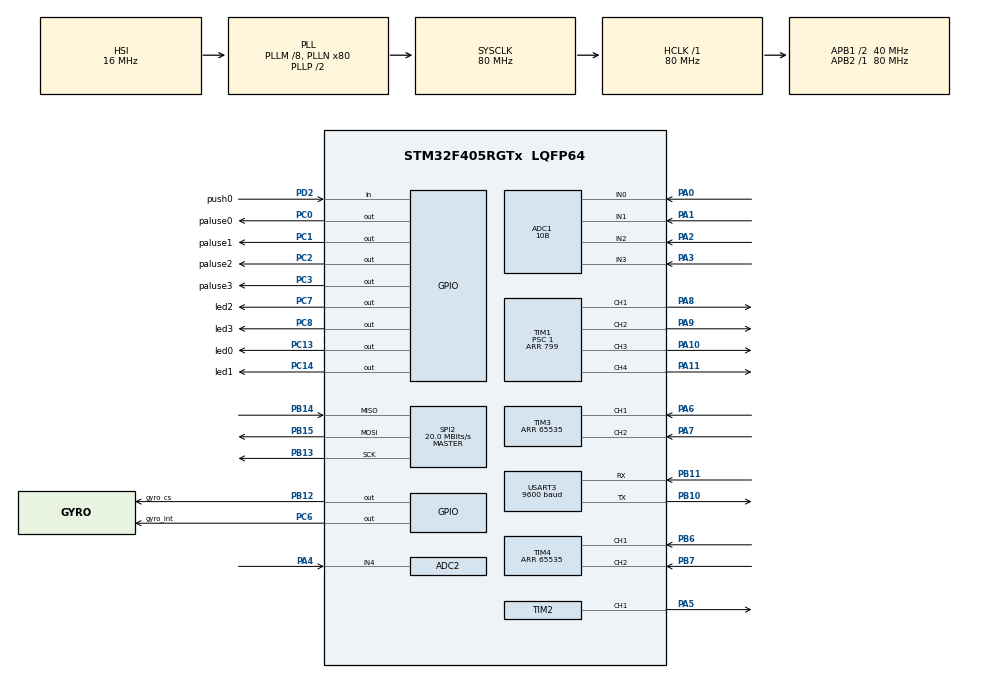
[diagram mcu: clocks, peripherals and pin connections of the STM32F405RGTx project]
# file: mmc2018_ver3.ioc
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ADC1.Channel-16\#ChannelRegularConversion=ADC_CHANNEL_0
ADC1.Channel-17\#ChannelRegularConversion=ADC_CHANNEL_1
ADC1.Channel-18\#ChannelRegularConversion=ADC_CHANNEL_2
ADC1.Channel-19\#ChannelRegularConversion=ADC_CHANNEL_3
ADC1.ClockPrescaler=ADC_CLOCK_SYNC_PCLK_DIV4
ADC1.ContinuousConvMode=ENABLE
ADC1.DMAContinuousRequests=ENABLE
ADC1.DataAlign=ADC_DATAALIGN_RIGHT
ADC1.DiscontinuousConvMode=DISABLE
ADC1.EOCSelection=ADC_EOC_SINGLE_CONV
ADC1.EnableAnalogWatchDog=false
ADC1.ExternalTrigConv=ADC_SOFTWARE_START
ADC1.ExternalTrigConvEdge=ADC_EXTERNALTRIGCONVEDGE_NONE
ADC1.InjNumberOfConversion=0
ADC1.NbrOfConversion=4
ADC1.NbrOfConversionFlag=1
ADC1.Rank-16\#ChannelRegularConversion=1
ADC1.Rank-17\#ChannelRegularConversion=2
ADC1.Rank-18\#ChannelRegularConversion=3
ADC1.Rank-19\#ChannelRegularConversion=4
ADC1.Resolution=ADC_RESOLUTION_10B
ADC1.SamplingTime-16\#ChannelRegularConversion=ADC_SAMPLETIME_3CYCLES
ADC1.SamplingTime-17\#ChannelRegularConversion=ADC_SAMPLETIME_3CYCLES
ADC1.SamplingTime-18\#ChannelRegularConversion=ADC_SAMPLETIME_3CYCLES
ADC1.SamplingTime-19\#ChannelRegularConversion=ADC_SAMPLETIME_3CYCLES
ADC1.ScanConvMode=ENABLE
ADC1.master=1
ADC2.Channel-18\#ChannelRegularConversion=ADC_CHANNEL_4
ADC2.ClockPrescaler=ADC_CLOCK_SYNC_PCLK_DIV4
ADC2.ContinuousConvMode=DISABLE
ADC2.DMAContinuousRequests=DISABLE
ADC2.DataAlign=ADC_DATAALIGN_RIGHT
ADC2.DiscontinuousConvMode=DISABLE
ADC2.EOCSelection=ADC_EOC_SINGLE_CONV
ADC2.EnableAnalogWatchDog=false
ADC2.ExternalTrigConv=ADC_SOFTWARE_START
ADC2.ExternalTrigConvEdge=ADC_EXTERNALTRIGCONVEDGE_NONE
ADC2.InjNumberOfConversion=0
ADC2.NbrOfConversion=1
ADC2.NbrOfConversionFlag=1
ADC2.Rank-18\#ChannelRegularConversion=1
ADC2.Resolution=ADC_RESOLUTION_12B
ADC2.SamplingTime-18\#ChannelRegularConversion=ADC_SAMPLETIME_28CYCLES
ADC2.ScanConvMode=DISABLE
Dma.ADC1.0.Direction=DMA_PERIPH_TO_MEMORY
Dma.ADC1.0.FIFOMode=DMA_FIFOMODE_DISABLE
Dma.ADC1.0.Instance=DMA2_Stream4
Dma.ADC1.0.MemDataAlignment=DMA_MDATAALIGN_HALFWORD
Dma.ADC1.0.MemInc=DMA_MINC_ENABLE
Dma.ADC1.0.Mode=DMA_NORMAL
Dma.ADC1.0.PeriphDataAlignment=DMA_PDATAALIGN_HALFWORD
Dma.ADC1.0.PeriphInc=DMA_PINC_DISABLE
Dma.ADC1.0.Priority=DMA_PRIORITY_HIGH
Dma.Request0=ADC1
Mcu.Family=STM32F4
Mcu.Name=STM32F405RGTx
Mcu.Package=LQFP64
NVIC.DMA2_Stream4_IRQn=true\:0\:0\:false\:false\:true\:false
NVIC.PriorityGroup=NVIC_PRIORITYGROUP_4
PA0-WKUP.Signal=ADCx_IN0
PA1.Signal=ADCx_IN1
PA10.Signal=S_TIM1_CH3
PA11.Signal=S_TIM1_CH4
PA2.Signal=ADCx_IN2
PA3.Signal=ADCx_IN3
PA4.Signal=ADCx_IN4
PA5.Signal=S_TIM2_CH1_ETR
PA6.Signal=S_TIM3_CH1
PA7.Signal=S_TIM3_CH2
PA8.Signal=S_TIM1_CH1
PA9.Signal=S_TIM1_CH2
PB10.Mode=Asynchronous
PB10.Signal=USART3_TX
PB11.Mode=Asynchronous
PB11.Signal=USART3_RX
PB12.GPIO_Label=gyro_cs
PB12.Signal=GPIO_Output
PB13.Mode=Full_Duplex_Master
PB13.Signal=SPI2_SCK
PB14.Mode=Full_Duplex_Master
PB14.Signal=SPI2_MISO
PB15.Mode=Full_Duplex_Master
PB15.Signal=SPI2_MOSI
PB6.Signal=S_TIM4_CH1
PB7.Signal=S_TIM4_CH2
PC0.GPIO_Label=paluse0
PC0.Signal=GPIO_Output
PC1.GPIO_Label=paluse1
PC1.Signal=GPIO_Output
PC13-ANTI_TAMP.GPIO_Label=led0
PC13-ANTI_TAMP.Signal=GPIO_Output
PC14-OSC32_IN.GPIO_Label=led1
PC14-OSC32_IN.Signal=GPIO_Output
PC2.GPIO_Label=paluse2
PC2.Signal=GPIO_Output
PC3.GPIO_Label=paluse3
PC3.Signal=GPIO_Output
PC6.GPIO_Label=gyro_int
PC6.Signal=GPIO_Output
PC7.GPIO_Label=led2
PC7.Signal=GPIO_Output
PC8.GPIO_Label=led3
PC8.Signal=GPIO_Output
PD2.GPIO_Label=push0
PD2.Signal=GPIO_Input
ProjectManager.HeapSize=0x200
ProjectManager.StackSize=0x400
ProjectManager.TargetToolchain=Makefile
RCC.48MHZClocksFreq_Value=40000000
RCC.AHBFreq_Value=80000000
RCC.APB1CLKDivider=RCC_HCLK_DIV2
RCC.APB1Freq_Value=40000000
RCC.APB1TimFreq_Value=80000000
RCC.APB2Freq_Value=80000000
RCC.APB2TimFreq_Value=80000000
RCC.CortexFreq_Value=80000000
RCC.HCLKFreq_Value=80000000
RCC.HSE_VALUE=25000000
RCC.HSI_VALUE=16000000
RCC.LSE_VALUE=32768
RCC.PLLM=8
RCC.PLLN=80
RCC.SYSCLKFreq_VALUE=80000000
RCC.SYSCLKSource=RCC_SYSCLKSOURCE_PLLCLK
RCC.VCOOutputFreq_Value=160000000
SH.ADCx_IN0.0=ADC1_IN0,IN0
SH.ADCx_IN1.0=ADC1_IN1,IN1
SH.ADCx_IN2.0=ADC1_IN2,IN2
SH.ADCx_IN3.0=ADC1_IN3,IN3
SH.ADCx_IN4.0=ADC2_IN4,IN4
SH.S_TIM1_CH1.0=TIM1_CH1,PWM Generation1 CH1
SH.S_TIM1_CH2.0=TIM1_CH2,PWM Generation2 CH2
SH.S_TIM1_CH3.0=TIM1_CH3,PWM Generation3 CH3
SH.S_TIM1_CH4.0=TIM1_CH4,PWM Generation4 CH4
SH.S_TIM2_CH1_ETR.0=TIM2_CH1,PWM Generation1 CH1
SH.S_TIM3_CH1.0=TIM3_CH1,Encoder_Interface
SH.S_TIM3_CH2.0=TIM3_CH2,Encoder_Interface
SH.S_TIM4_CH1.0=TIM4_CH1,Encoder_Interface
SH.S_TIM4_CH2.0=TIM4_CH2,Encoder_Interface
SPI2.CalculateBaudRate=20.0 MBits/s
SPI2.Direction=SPI_DIRECTION_2LINES
SPI2.Mode=SPI_MODE_MASTER
SPI2.VirtualType=VM_MASTER
TIM1.Channel-PWM\ Generation1\ CH1=TIM_CHANNEL_1
TIM1.Channel-PWM\ Generation2\ CH2=TIM_CHANNEL_2
TIM1.Channel-PWM\ Generation3\ CH3=TIM_CHANNEL_3
TIM1.Channel-PWM\ Generation4\ CH4=TIM_CHANNEL_4
TIM1.Period=799
TIM1.Prescaler=1
TIM2.Channel-PWM\ Generation1\ CH1=TIM_CHANNEL_1
TIM2.Period=999
TIM2.Prescaler=9
TIM3.Period=65535
TIM4.Period=65535
USART3.BaudRate=9600
USART3.VirtualMode=VM_ASYNC
board=mmc2018_ver3

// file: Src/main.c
/**
  ******************************************************************************
  * @file           : main.c
  * @brief          : Main program body
  ******************************************************************************
  ** This notice applies to any and all portions of this file
  * that are not between comment pairs USER CODE BEGIN and
  * USER CODE END. Other portions of this file, whether
  * inserted by the user or by software development tools
  * are owned by their respective copyright owners.
  *
  * COPYRIGHT(c) 2019 STMicroelectronics
  *
  * Redistribution and use in source and binary forms, with or without modification,
  * are permitted provided that the following conditions are met:
  *   1. Redistributions of source code must retain the above copyright notice,
  *      this list of conditions and the following disclaimer.
  *   2. Redistributions in binary form must reproduce the above copyright notice,
  *      this list of conditions and the following disclaimer in the documentation
  *      and/or other materials provided with the distribution.
  *   3. Neither the name of STMicroelectronics nor the names of its contributors
  *      may be used to endorse or promote products derived from this software
  *      without specific prior written permission.
  *
  * THIS SOFTWARE IS PROVIDED BY THE COPYRIGHT HOLDERS AND CONTRIBUTORS "AS IS"
  * AND ANY EXPRESS OR IMPLIED WARRANTIES, INCLUDING, BUT NOT LIMITED TO, THE
  * IMPLIED WARRANTIES OF MERCHANTABILITY AND FITNESS FOR A PARTICULAR PURPOSE ARE
  * DISCLAIMED. IN NO EVENT SHALL THE COPYRIGHT HOLDER OR CONTRIBUTORS BE LIABLE
  * FOR ANY DIRECT, INDIRECT, INCIDENTAL, SPECIAL, EXEMPLARY, OR CONSEQUENTIAL
  * DAMAGES (INCLUDING, BUT NOT LIMITED TO, PROCUREMENT OF SUBSTITUTE GOODS OR
  * SERVICES; LOSS OF USE, DATA, OR PROFITS; OR BUSINESS INTERRUPTION) HOWEVER
  * CAUSED AND ON ANY THEORY OF LIABILITY, WHETHER IN CONTRACT, STRICT LIABILITY,
  * OR TORT (INCLUDING NEGLIGENCE OR OTHERWISE) ARISING IN ANY WAY OUT OF THE USE
  * OF THIS SOFTWARE, EVEN IF ADVISED OF THE POSSIBILITY OF SUCH DAMAGE.
  *
  ******************************************************************************
  */
#include "main.h"
#include "stm32f4xx_hal.h"
#include "adc.h"
#include "dma.h"
#include "spi.h"
#include "tim.h"
#include "usart.h"
#include "gpio.h"

/* USER CODE BEGIN Includes */
#include "stdint.h"
#include "filter.h"
#include "flash.h"
#include "interface.h"
#include "mode.h"

/* USER CODE END Includes */

/* USER CODE BEGIN PV */
#ifdef __GNUC__
#define PUTCHAR_PROTOTYPE int __io_putchar(int ch)
#else
#define PUTCHAR_PROTOTYPE int fputc(int ch, FILE *f)
#endif /* __GNUC__ */
void __io_putchar(uint8_t ch)
{
  HAL_UART_Transmit(&huart3, &ch, 1, 1);
}
/* Private variables ---------------------------------------------------------*/
extern gyro_t gyro;
extern volatile unsigned char flag_front_wall;
/* USER CODE END PV */

void SystemClock_Config(void);

/* USER CODE BEGIN PFP */
/* Private function prototypes -----------------------------------------------*/
void Main_Init(void);
/* USER CODE END PFP */

int main(void)
{

  /* MCU Configuration----------------------------------------------------------*/

  /* Reset of all peripherals, Initializes the Flash interface and the Systick. */
  HAL_Init();

  /* Configure the system clock */
  SystemClock_Config();

  /* Initialize all configured peripherals */
  MX_GPIO_Init();
  MX_DMA_Init();
  MX_USART3_UART_Init();
  MX_TIM4_Init();
  MX_SPI2_Init();
  MX_TIM3_Init();
  MX_TIM2_Init();
  MX_TIM1_Init();
  MX_ADC1_Init();
  MX_ADC2_Init();
  /* USER CODE BEGIN 2 */
  Main_Init();
  /* USER CODE END 2 */

  /* Infinite loop */
  /* USER CODE BEGIN WHILE */
  while (1)
  {
    Mode_Mouse(Mode_Select());
  /* USER CODE END WHILE */

  }

}

void SystemClock_Config(void)
{

  RCC_OscInitTypeDef RCC_OscInitStruct;
  RCC_ClkInitTypeDef RCC_ClkInitStruct;

    /**Configure the main internal regulator output voltage
    */
  __HAL_RCC_PWR_CLK_ENABLE();

  __HAL_PWR_VOLTAGESCALING_CONFIG(PWR_REGULATOR_VOLTAGE_SCALE1);

    /**Initializes the CPU, AHB and APB busses clocks
    */
  RCC_OscInitStruct.OscillatorType = RCC_OSCILLATORTYPE_HSI;
  RCC_OscInitStruct.HSIState = RCC_HSI_ON;
  RCC_OscInitStruct.HSICalibrationValue = 16;
  RCC_OscInitStruct.PLL.PLLState = RCC_PLL_ON;
  RCC_OscInitStruct.PLL.PLLSource = RCC_PLLSOURCE_HSI;
  RCC_OscInitStruct.PLL.PLLM = 8;
  RCC_OscInitStruct.PLL.PLLN = 80;
  RCC_OscInitStruct.PLL.PLLP = RCC_PLLP_DIV2;
  RCC_OscInitStruct.PLL.PLLQ = 4;
  if (HAL_RCC_OscConfig(&RCC_OscInitStruct) != HAL_OK)
  {
    _Error_Handler(__FILE__, __LINE__);
  }

    /**Initializes the CPU, AHB and APB busses clocks
    */
  RCC_ClkInitStruct.ClockType = RCC_CLOCKTYPE_HCLK|RCC_CLOCKTYPE_SYSCLK
                              |RCC_CLOCKTYPE_PCLK1|RCC_CLOCKTYPE_PCLK2;
  RCC_ClkInitStruct.SYSCLKSource = RCC_SYSCLKSOURCE_PLLCLK;
  RCC_ClkInitStruct.AHBCLKDivider = RCC_SYSCLK_DIV1;
  RCC_ClkInitStruct.APB1CLKDivider = RCC_HCLK_DIV2;
  RCC_ClkInitStruct.APB2CLKDivider = RCC_HCLK_DIV1;

  if (HAL_RCC_ClockConfig(&RCC_ClkInitStruct, FLASH_LATENCY_2) != HAL_OK)
  {
    _Error_Handler(__FILE__, __LINE__);
  }

    /**Configure the Systick interrupt time
    */
  HAL_SYSTICK_Config(HAL_RCC_GetHCLKFreq()/1000);

    /**Configure the Systick
    */
  HAL_SYSTICK_CLKSourceConfig(SYSTICK_CLKSOURCE_HCLK);

  /* SysTick_IRQn interrupt configuration */
  HAL_NVIC_SetPriority(SysTick_IRQn, 15, 0);
}

/* USER CODE BEGIN 4 */
/****************************************************************************************
 * outline  : init main(setbuf,tim5,3,4,gyro,battery,flag,ms_count)
 * argument : void
 * return   : void
********************************************************************************************/
void Main_Init(void)
{
  //start check
  Output_Buzzer(HZ_B);
  Output_Buzzer(HZ_A);
  //printf
  setbuf(stdout, NULL);
  //tim start
  HAL_TIM_Encoder_Start(&htim3, TIM_CHANNEL_ALL);
  HAL_TIM_Encoder_Start(&htim4, TIM_CHANNEL_ALL);
  //reset
  flag_front_wall=0;
  //Reset_Value();
  //sensor set
  setSensorConstant();
  //gyro
  set_mpu6500();
  //battry check
  printf("%f\r\n",Filter_GetBatt());
}
/* USER CODE END 4 */

void _Error_Handler(char *file, int line)
{
  while (1)
  {
  }
}

/************************ (C) COPYRIGHT STMicroelectronics *****END OF FILE****/
